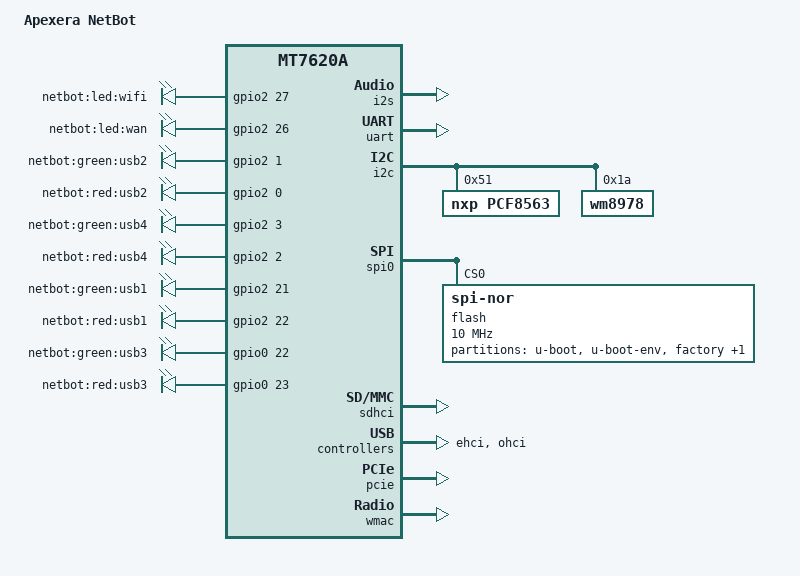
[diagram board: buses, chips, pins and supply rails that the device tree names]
/dts-v1/;

#include "mt7620a.dtsi"

#include <dt-bindings/gpio/gpio.h>
#include <dt-bindings/input/input.h>

/ {
	compatible = "apexera,netbot", "ralink,mt7620a-soc";
	model = "Apexera NetBot";

	chosen {
		bootargs = "console=ttyS1,57600";
	};

	aliases {
		led-boot = &led_wifi;
		led-failsafe = &led_wifi;
	};

	gpio-leds {
		compatible = "gpio-leds";

		led_wifi: wifi {
			label = "netbot:led:wifi";
			gpios = <&gpio2 27 GPIO_ACTIVE_HIGH>;
		};

		wan {
			label = "netbot:led:wan";
			gpios = <&gpio2 26 GPIO_ACTIVE_HIGH>;
		};

		usb2g {
			label = "netbot:green:usb2";
			gpios = <&gpio2 1 GPIO_ACTIVE_HIGH>;
		};

		usb2r {
			label = "netbot:red:usb2";
			gpios = <&gpio2 0 GPIO_ACTIVE_HIGH>;
		};

		usb4g {
			label = "netbot:green:usb4";
			gpios = <&gpio2 3 GPIO_ACTIVE_HIGH>;
		};

		usb4r {
			label = "netbot:red:usb4";
			gpios = <&gpio2 2 GPIO_ACTIVE_HIGH>;
		};

		usb1g {
			label = "netbot:green:usb1";
			gpios = <&gpio2 21 GPIO_ACTIVE_HIGH>;
		};

		usb1r {
			label = "netbot:red:usb1";
			gpios = <&gpio2 22 GPIO_ACTIVE_HIGH>;
		};

		usb3g {
			label = "netbot:green:usb3";
			gpios = <&gpio0 22 GPIO_ACTIVE_HIGH>;
		};

		usb3r {
			label = "netbot:red:usb3";
			gpios = <&gpio0 23 GPIO_ACTIVE_HIGH>;
		};
	};
};

&i2s {
	status = "okay";
};

&gpio2 {
	status = "okay";
};

&uart {
	status = "okay";
};

&i2c {
	status = "okay";

	pcf8563: rtc@51 {
		status = "okay";
		compatible = "nxp,pcf8563";
		reg = <0x51>;
	};

	wm8978: wm8978@1a {
		compatible = "wm8978";
		reg = <0x1a>;
	};
};

&spi0 {
	status = "okay";

	flash@0 {
		compatible = "jedec,spi-nor";
		reg = <0>;
		spi-max-frequency = <10000000>;

		partitions {
			compatible = "fixed-partitions";
			#address-cells = <1>;
			#size-cells = <1>;

			partition@0 {
				label = "u-boot";
				reg = <0x0 0x30000>;
				read-only;
			};

			partition@30000 {
				label = "u-boot-env";
				reg = <0x30000 0x10000>;
				read-only;
			};

			factory: partition@40000 {
				label = "factory";
				reg = <0x40000 0x10000>;
				read-only;
			};

			partition@50000 {
				compatible = "denx,uimage";
				label = "firmware";
				reg = <0x50000 0xfb0000>;
			};
		};
	};
};

&sdhci {
	status = "okay";
};

&ehci {
	status = "okay";
};

&ohci {
	status = "okay";
};

&pcie {
	status = "okay";
};

&ethernet {
	mtd-mac-address = <&factory 0x10>;
	ralink,port-map = "wllll";
};

&wmac {
	ralink,mtd-eeprom = <&factory 0>;
};

&pinctrl {
	state_default: pinctrl0 {
		gpio {
			ralink,group = "rgmii2", "mdio", "ephy";
			ralink,function = "gpio";
		};

		i2s_uartf {
			ralink,group = "uartf";
			ralink,function = "i2s uartf";
		};
	};
};
